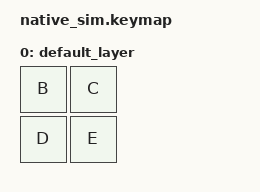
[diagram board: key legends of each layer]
#include <dt-bindings/zmk/keys.h>
#include <behaviors.dtsi>
#include <dt-bindings/zmk/kscan_mock.h>
#include <dt-bindings/zmk/matrix_transform.h>

/delete-node/ &kscan;

/ {
    physical_layout: physical_layout {
        display-name = "Layout";
        compatible = "zmk,physical-layout";
        input = <&mock_matrix_input>;
        transform = <&matrix_transform0>;
    };

    chosen {
        /delete-property/ zmk,kscan;

    //    zmk,matrix-input = &mock_matrix_input;
    };

    matrix_transform0: keymap_transform_0 {
        compatible = "zmk,matrix-transform";
        columns = <20>;
        rows = <5>;


        map = <
            RC(0,0) RC(0,1)
            RC(1,0) RC(1,1)
        >;
    };

    mock_matrix_input: mock_matrix_input {
        compatible = "zmk,input-mock";

        event-startup-delay = <100>;
        event-period = <2000>;
        events
            = <INPUT_EV_ABS INPUT_ABS_X 0 0>
            , <INPUT_EV_ABS INPUT_ABS_Y 0 0>
            , <INPUT_EV_KEY INPUT_BTN_TOUCH 1 1>
            , <INPUT_EV_ABS INPUT_ABS_X 0 0>
            , <INPUT_EV_ABS INPUT_ABS_Y 0 0>
            , <INPUT_EV_KEY INPUT_BTN_TOUCH 0 1>
            ;
        exit-after;
    };

    keymap {
        compatible = "zmk,keymap";

        default_layer {
            bindings = <
                &kp B &kp C
                &kp D &kp E
            >;
        };
    };
};
